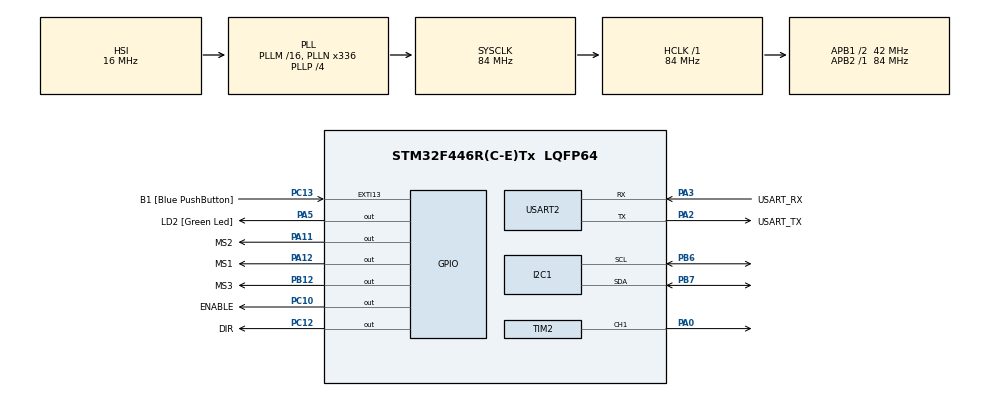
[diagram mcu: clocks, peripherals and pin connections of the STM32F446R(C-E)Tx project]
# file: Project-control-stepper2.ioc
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Mcu.Family=STM32F4
Mcu.Name=STM32F446R(C-E)Tx
Mcu.Package=LQFP64
NVIC.EXTI15_10_IRQn=true\:0\:0\:false\:false\:true\:true\:true\:true
NVIC.PriorityGroup=NVIC_PRIORITYGROUP_0
NVIC.TIM3_IRQn=true\:0\:0\:false\:false\:true\:true\:true\:true
NVIC.TIM7_IRQn=true\:0\:0\:false\:false\:true\:true\:true\:true
NVIC.USART2_IRQn=true\:0\:0\:false\:false\:true\:true\:true\:true
PA0-WKUP.Signal=S_TIM2_CH1_ETR
PA11.GPIO_Label=MS2
PA11.Signal=GPIO_Output
PA12.GPIO_Label=MS1
PA12.Signal=GPIO_Output
PA13.GPIO_Label=TMS
PA13.Mode=Serial_Wire
PA13.Signal=SYS_JTMS-SWDIO
PA14.GPIO_Label=TCK
PA14.Mode=Serial_Wire
PA14.Signal=SYS_JTCK-SWCLK
PA2.GPIO_Label=USART_TX
PA2.Mode=Asynchronous
PA2.Signal=USART2_TX
PA3.GPIO_Label=USART_RX
PA3.Mode=Asynchronous
PA3.Signal=USART2_RX
PA5.GPIO_Label=LD2 [Green Led]
PA5.Signal=GPIO_Output
PB12.GPIO_Label=MS3
PB12.Signal=GPIO_Output
PB3.GPIO_Label=SWO
PB3.Signal=SYS_JTDO-SWO
PB6.Mode=I2C
PB6.Signal=I2C1_SCL
PB7.Mode=I2C
PB7.Signal=I2C1_SDA
PC10.GPIO_Label=ENABLE
PC10.Signal=GPIO_Output
PC12.GPIO_Label=DIR
PC12.Signal=GPIO_Output
PC13.GPIO_Label=B1 [Blue PushButton]
PC13.GPIO_ModeDefaultEXTI=GPIO_MODE_IT_FALLING
PC13.Signal=GPXTI13
PC14-OSC32_IN.Mode=LSE-External-Oscillator
PC14-OSC32_IN.Signal=RCC_OSC32_IN
PC15-OSC32_OUT.Mode=LSE-External-Oscillator
PC15-OSC32_OUT.Signal=RCC_OSC32_OUT
PH0-OSC_IN.Mode=HSE-External-Oscillator
PH0-OSC_IN.Signal=RCC_OSC_IN
PH1-OSC_OUT.Mode=HSE-External-Oscillator
PH1-OSC_OUT.Signal=RCC_OSC_OUT
ProjectManager.HeapSize=0x200
ProjectManager.StackSize=0x400
ProjectManager.TargetToolchain=STM32CubeIDE
RCC.48MHZClocksFreq_Value=84000000
RCC.AHBFreq_Value=84000000
RCC.APB1CLKDivider=RCC_HCLK_DIV2
RCC.APB1Freq_Value=42000000
RCC.APB1TimFreq_Value=84000000
RCC.APB2Freq_Value=84000000
RCC.APB2TimFreq_Value=84000000
RCC.CortexFreq_Value=84000000
RCC.FLatency-AdvancedSettings=FLASH_LATENCY_2
RCC.HCLKFreq_Value=84000000
RCC.HSE_VALUE=8000000
RCC.HSI_VALUE=16000000
RCC.PLLN=336
RCC.PLLP=RCC_PLLP_DIV4
RCC.SYSCLKFreq_VALUE=84000000
RCC.SYSCLKSource=RCC_SYSCLKSOURCE_PLLCLK
RCC.USBFreq_Value=168000000
RCC.VCOOutputFreq_Value=336000000
SH.S_TIM2_CH1_ETR.0=TIM2_CH1,PWM Generation1 CH1
TIM2.Channel-PWM\ Generation1\ CH1=TIM_CHANNEL_1
TIM2.Period=839999
TIM2.Prescaler=0
TIM2.Pulse-PWM\ Generation1\ CH1=10000
TIM2.TIM_MasterOutputTrigger=TIM_TRGO_UPDATE
TIM2.TIM_MasterSlaveMode=TIM_MASTERSLAVEMODE_ENABLE
TIM3.Period=200
TIM7.Period=99
TIM7.Prescaler=8399 
USART2.VirtualMode=VM_ASYNC
VP_TIM2_VS_ClockSourceINT.Mode=Internal
VP_TIM3_VS_ClockSourceITR.Mode=TriggerSource_ITR1
VP_TIM3_VS_ControllerModeClock.Mode=Clock Mode
VP_TIM7_VS_ClockSourceINT.Mode=Enable_Timer
board=NUCLEO-F446RE

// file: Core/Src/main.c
/* USER CODE BEGIN Header */
/**
  ******************************************************************************
  * @file           : main.c
  * @brief          : Main program body
  ******************************************************************************
  * @attention
  *
  * Copyright (c) 2025 STMicroelectronics.
  * All rights reserved.
  *
  * This software is licensed under terms that can be found in the LICENSE file
  * in the root directory of this software component.
  * If no LICENSE file comes with this software, it is provided AS-IS.
  *
  ******************************************************************************
  */
/* USER CODE END Header */
#include "main.h"
#include "i2c.h"
#include "tim.h"
#include "usart.h"
#include "gpio.h"

/* USER CODE BEGIN Includes */
#include <math.h>
#include "tof_sensor.h"
#include "stepper.h"
#include "pid_controller.h"
#include "command.h"
#include "command_instructions.h"

/* USER CODE END Includes */

/* USER CODE BEGIN PV */
Stepper nema_17;
Command g_command;
PID_Controller pid;

// UART communication data
uint8_t rx_data[20];
uint8_t cnt=0;

// PID data
float Kp = 0.1f;
float Ki = 0.0f;
float Kd = 0.0f;
float out_min = -400.0f;
float out_max = 400.0f;
float out_threshold = 0.0f;

// Control data
int16_t distance;
int16_t speed;

// Stepper motor parameters
float step_angle = 0.05f;
GPIO_TypeDef *step_port = GPIOC;
uint16_t step_pin = GPIO_PIN_10;
TIM_HandleTypeDef *step_timer = &htim2;

GPIO_TypeDef *dir_port = GPIOA;
uint16_t dir_pin = GPIO_PIN_0;

GPIO_TypeDef *ms1_port = GPIOC;
uint16_t ms1_pin = GPIO_PIN_12;
GPIO_TypeDef *ms2_port = GPIOA;
uint16_t ms2_pin = GPIO_PIN_12;
GPIO_TypeDef *ms3_port = GPIOA;
uint16_t ms3_pin = GPIO_PIN_11;

GPIO_TypeDef *enable_port = GPIOB;
uint16_t enable_pin = GPIO_PIN_12;

/* USER CODE END PV */

void SystemClock_Config(void);

int main(void)
{

  /* MCU Configuration--------------------------------------------------------*/

  /* Reset of all peripherals, Initializes the Flash interface and the Systick. */
  HAL_Init();

  /* Configure the system clock */
  SystemClock_Config();

  /* Initialize all configured peripherals */
  MX_GPIO_Init();
  MX_USART2_UART_Init();
  MX_TIM2_Init();
  MX_TIM3_Init();
  MX_I2C1_Init();
  MX_TIM7_Init();
  /* USER CODE BEGIN 2 */

  // Sensor initialization with 100 mm calibration distance
  TOF_Init(200);

  // Stepper initialization, microstepping initialization
  Stepper_Init(&nema_17, step_angle,
               step_port, step_pin,
               step_timer,
               dir_port, dir_pin,
               ms1_port, ms1_pin,
               ms2_port, ms2_pin,
               ms3_port, ms3_pin,
               enable_port, enable_pin);
  Stepper_SetMicroStep(&nema_17, SIXTEENTH_STEP);

  // Controller initialization
  PID_Init(&pid, Kp, Ki, Kd, out_min, out_max, out_threshold);

  // Command initialization
  Command_Init(&g_command, &pid, &huart2);

  // Send instructions through UART
  HAL_UART_Transmit_IT(&huart2, command_help_message, sizeof(command_help_message));

  // Starting uart communication
  HAL_UART_Receive_IT(&huart2, rx_data, 1);

  // Starting control timer
  HAL_TIM_Base_Start_IT(&htim7);

  // Activating motor
  Stepper_Enable(&nema_17);
  Stepper_Start(&nema_17);

  /* USER CODE END 2 */

  /* Infinite loop */
  while (1)
  {

  }
}

void SystemClock_Config(void)
{
  RCC_OscInitTypeDef RCC_OscInitStruct = {0};
  RCC_ClkInitTypeDef RCC_ClkInitStruct = {0};

  /** Configure the main internal regulator output voltage
  */
  __HAL_RCC_PWR_CLK_ENABLE();
  __HAL_PWR_VOLTAGESCALING_CONFIG(PWR_REGULATOR_VOLTAGE_SCALE3);

  /** Initializes the RCC Oscillators according to the specified parameters
  * in the RCC_OscInitTypeDef structure.
  */
  RCC_OscInitStruct.OscillatorType = RCC_OSCILLATORTYPE_HSI;
  RCC_OscInitStruct.HSIState = RCC_HSI_ON;
  RCC_OscInitStruct.HSICalibrationValue = RCC_HSICALIBRATION_DEFAULT;
  RCC_OscInitStruct.PLL.PLLState = RCC_PLL_ON;
  RCC_OscInitStruct.PLL.PLLSource = RCC_PLLSOURCE_HSI;
  RCC_OscInitStruct.PLL.PLLM = 16;
  RCC_OscInitStruct.PLL.PLLN = 336;
  RCC_OscInitStruct.PLL.PLLP = RCC_PLLP_DIV4;
  RCC_OscInitStruct.PLL.PLLQ = 2;
  RCC_OscInitStruct.PLL.PLLR = 2;
  if (HAL_RCC_OscConfig(&RCC_OscInitStruct) != HAL_OK)
  {
    Error_Handler();
  }

  /** Initializes the CPU, AHB and APB buses clocks
  */
  RCC_ClkInitStruct.ClockType = RCC_CLOCKTYPE_HCLK|RCC_CLOCKTYPE_SYSCLK
                              |RCC_CLOCKTYPE_PCLK1|RCC_CLOCKTYPE_PCLK2;
  RCC_ClkInitStruct.SYSCLKSource = RCC_SYSCLKSOURCE_PLLCLK;
  RCC_ClkInitStruct.AHBCLKDivider = RCC_SYSCLK_DIV1;
  RCC_ClkInitStruct.APB1CLKDivider = RCC_HCLK_DIV2;
  RCC_ClkInitStruct.APB2CLKDivider = RCC_HCLK_DIV1;

  if (HAL_RCC_ClockConfig(&RCC_ClkInitStruct, FLASH_LATENCY_2) != HAL_OK)
  {
    Error_Handler();
  }
}

/* USER CODE BEGIN 4 */

void HAL_TIM_PeriodElapsedCallback(TIM_HandleTypeDef *htim){

	if (htim->Instance == TIM7){
		/*
		 * Timer 7 is the control timer. It actuates control action every sample time
		 */
		distance = TOF_GetFilteredDistance(0, 1500);

		// Check if the error code distance has been returned
		if (distance == -1){
			return;
		}

		speed = PID_Compute(&pid, distance, 0.01f);

		// Change rotation direction depending on speed sign
		if (speed <= 0){
			Stepper_SetDirection(&nema_17, CLOCKWISE);
		}
		else{
			Stepper_SetDirection(&nema_17, COUNTER_CLOCKWISE);
		}

		Stepper_SetSpeed(&nema_17, fabs(speed));

		}
}

void HAL_UART_RxCpltCallback(UART_HandleTypeDef *huart){

	if (huart->Instance == USART2){

		// Check if the command has been lauched
		if (*(rx_data+cnt) == '\r'){

			Command_Parse(&g_command, rx_data);
			Command_Execute(&g_command);
			cnt = -1;
			memset(rx_data,0,sizeof(rx_data));
			Command_Clear(&g_command);
		}
		cnt++;
		HAL_UART_Receive_IT(&huart2, rx_data+cnt, 1);
	}

}

void _putchar(char c) {
	/*
	 * Enable ITM tracing
	 */
    ITM_SendChar(c);
}

/* USER CODE END 4 */

void Error_Handler(void)
{
  __disable_irq();
  while (1)
  {
  }
}
